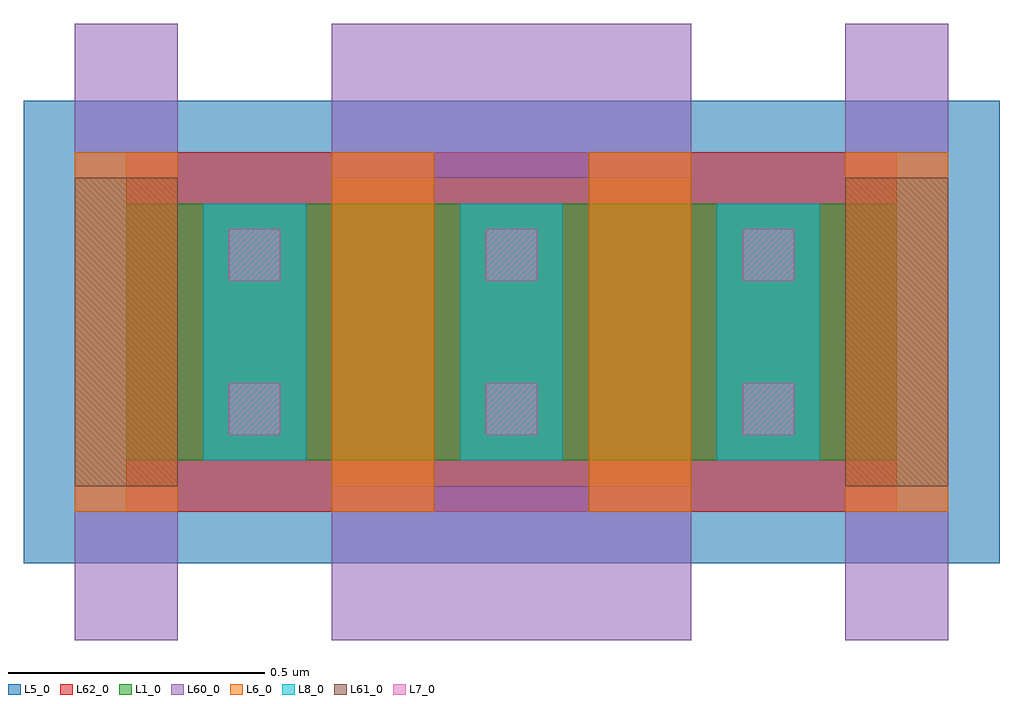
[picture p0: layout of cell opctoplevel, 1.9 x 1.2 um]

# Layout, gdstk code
import gdstk
lib = gdstk.Library(unit=1e-6, precision=1e-09)
def R(c, l, rs):  # rectangles x0, y0, x1, y1
    for r in rs: c.add(gdstk.rectangle(r[:2], r[2:], *l))
def A(c, l, x, y, w, h, nx, ny, dx, dy):  # array of equal rectangles
    R(c, l, [(x+i*dx, y+j*dy, x+i*dx+w, y+j*dy+h) for i in range(nx) for j in range(ny)])
L1_0 = (1, 0)
L5_0 = (5, 0)
L6_0 = (6, 0)
L7_0 = (7, 0)
L8_0 = (8, 0)
L60_0 = (60, 0)
L61_0 = (61, 0)
L62_0 = (62, 0)

opctoplevel = lib.new_cell('opctoplevel')
R(opctoplevel, L1_0, [(-0.4,0,1.1,0.5)])
R(opctoplevel, L5_0, [(-0.6,-0.2,1.3,0.7)])
A(opctoplevel, L6_0, -0.5, -0.1, 0.2, 0.7, 4, 1, 0.5, 0)
A(opctoplevel, L7_0, -0.2, 0.05, 0.1, 0.1, 3, 2, 0.5, 0.3)
A(opctoplevel, L8_0, -0.25, 0, 0.2, 0.5, 3, 1, 0.5, 0)
R(opctoplevel, L60_0, [(-0.5,-0.35,-0.3,-0.05), (0,-0.35,0.7,-0.05), (1,-0.35,1.2,-0.05), (-0.5,0.55,-0.3,0.85), (0,0.55,0.7,0.85), (1,0.55,1.2,0.85)])
R(opctoplevel, L61_0, [(-0.5,-0.05,-0.3,0.55), (1,-0.05,1.2,0.55)])
R(opctoplevel, L62_0, [(-0.4,-0.1,1.1,0.6)])

lib.write_gds('opctoplevel.gds')
